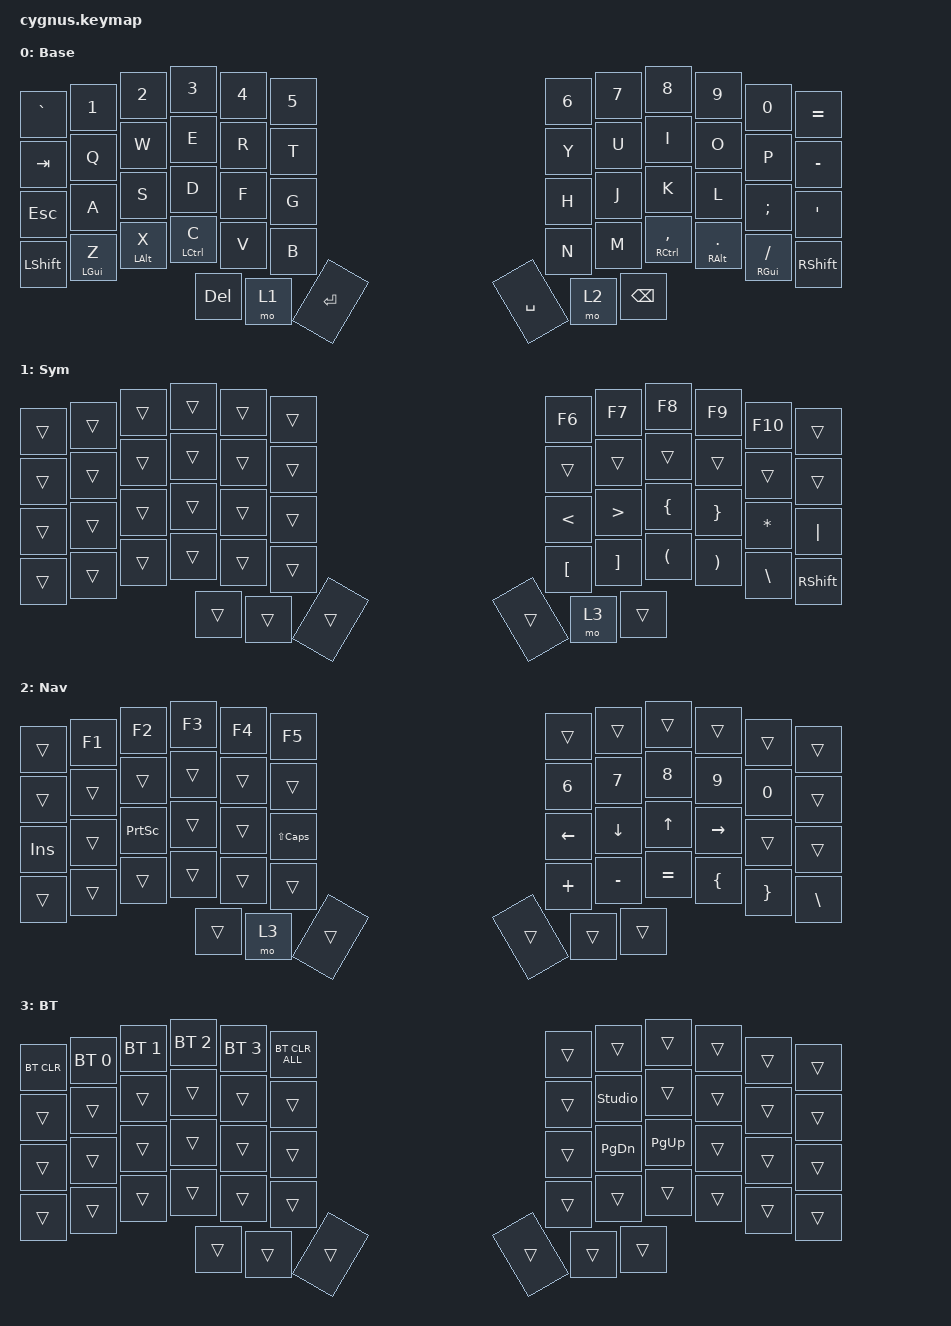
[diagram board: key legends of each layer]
/*
 * Copyright (c) 2020 The ZMK Contributors
 *
 * SPDX-License-Identifier: MIT
 *
 * Transcribed from the ZMK Studio state on the left half, 2026-09-04.
 * Key order per layer (54 keys):
 *   line 1: left row0 c0-c5, right row0 c0-c5
 *   line 2: left row1,        right row1
 *   line 3: left row2,        right row2
 *   line 4: left row3 c0-c5, LEFT big thumb, RIGHT big thumb, right row3 c0-c5
 *   line 5: left thumb outer, left thumb inner, right thumb inner, right thumb outer
 */

#include <behaviors.dtsi>
#include <dt-bindings/zmk/bt.h>
#include <dt-bindings/zmk/ext_power.h>
#include <dt-bindings/zmk/keys.h>

/ {
    /* CUSTOM BEHAVIORS START HERE */
    behaviors {
        mtt: mod_tap_with_tap_preferred {
            compatible = "zmk,behavior-hold-tap";
            label = "MOD_TAP_TAP_PREFERRED";
            #binding-cells = <2>;
            tapping-term-ms = <200>;
            flavor = "tap-preferred";
            bindings = <&kp>, <&kp>;
        };
    };
    /* CUSTOM BEHAVIORS END HERE */

    keymap {
        compatible = "zmk,keymap";

        default_layer {
            display-name = "Base";
            // |  `  |  1  |  2  |  3  |  4  |  5  |            |  6  |  7  |  8  |  9  |  0  |  =  |
            // | TAB |  Q  |  W  |  E  |  R  |  T  |            |  Y  |  U  |  I  |  O  |  P  |  -  |
            // | ESC |  A  |  S  |  D  |  F  |  G  |            |  H  |  J  |  K  |  L  |  ;  |  '  |
            // | SHFT| GUI/Z| ALT/X| CTL/C|  V  |  B  | RET  SPC |  N  |  M  |CTL/,|ALT/.|GUI//| SHFT|
            //                              DEL  MO1     MO2  BSPC
            bindings = <
&kp GRAVE  &kp N1       &kp N2       &kp N3        &kp N4  &kp N5                    &kp N6  &kp N7  &kp N8            &kp N9             &kp N0            &kp EQUAL
&kp TAB    &kp Q        &kp W        &kp E         &kp R   &kp T                     &kp Y   &kp U   &kp I             &kp O              &kp P             &kp MINUS
&kp ESC    &kp A        &kp S        &kp D         &kp F   &kp G                     &kp H   &kp J   &kp K             &kp L              &kp SEMI          &kp SQT
&kp LSHFT  &mtt LGUI Z  &mtt LALT X  &mtt LCTRL C  &kp V   &kp B   &kp RET  &kp SPACE  &kp N   &kp M   &mtt RCTRL COMMA  &mtt RALT DOT      &mtt RGUI FSLH    &kp RSHFT
                                                   &kp DEL  &mo 1   &mo 2   &kp BSPC
            >;
        };

        lower_layer {
            display-name = "Sym";
            // right hand only; left hand transparent
            bindings = <
&trans  &trans  &trans  &trans  &trans  &trans                    &kp F6     &kp F7     &kp F8    &kp F9     &kp F10    &trans
&trans  &trans  &trans  &trans  &trans  &trans                    &trans     &trans     &trans    &trans     &trans     &trans
&trans  &trans  &trans  &trans  &trans  &trans                    &kp LT     &kp GT     &kp LBRC  &kp RBRC   &kp ASTRK  &kp PIPE
&trans  &trans  &trans  &trans  &trans  &trans  &trans  &trans    &kp LBKT   &kp RBKT   &kp LPAR  &kp RPAR   &kp BSLH   &kp RSHFT
                                        &trans  &trans  &mo 3   &trans
            >;
        };

        raise_layer {
            display-name = "Nav";
            bindings = <
&trans    &kp F1  &kp F2     &kp F3  &kp F4  &kp F5                    &trans     &trans     &trans     &trans      &trans    &trans
&trans    &trans  &trans     &trans  &trans  &trans                    &kp N6     &kp N7     &kp N8     &kp N9      &kp N0    &trans
&kp INS   &trans  &kp PSCRN  &trans  &trans  &kp LS(CAPS)              &kp LEFT   &kp DOWN   &kp UP     &kp RIGHT   &trans    &trans
&trans    &trans  &trans     &trans  &trans  &trans   &trans  &trans   &kp PLUS   &kp MINUS  &kp EQUAL  &kp LBRC    &kp RBRC  &kp BSLH
                                             &trans   &mo 3   &trans  &trans
            >;
        };

        bt_layer {
            display-name = "BT";
            bindings = <
&bt BT_CLR  &bt BT_SEL 0  &bt BT_SEL 1  &bt BT_SEL 2  &bt BT_SEL 3  &bt BT_CLR_ALL              &trans  &trans      &trans      &trans  &trans  &trans
&trans      &trans        &trans        &trans        &trans        &trans                      &trans  &studio_unlock  &trans      &trans  &trans  &trans
&trans      &trans        &trans        &trans        &trans        &trans                      &trans  &kp PG_DN   &kp PG_UP   &trans  &trans  &trans
&trans      &trans        &trans        &trans        &trans        &trans  &trans   &trans     &trans  &trans      &trans      &trans  &trans  &trans
                                                                    &trans  &trans   &trans  &trans
            >;
        };
    };
};
